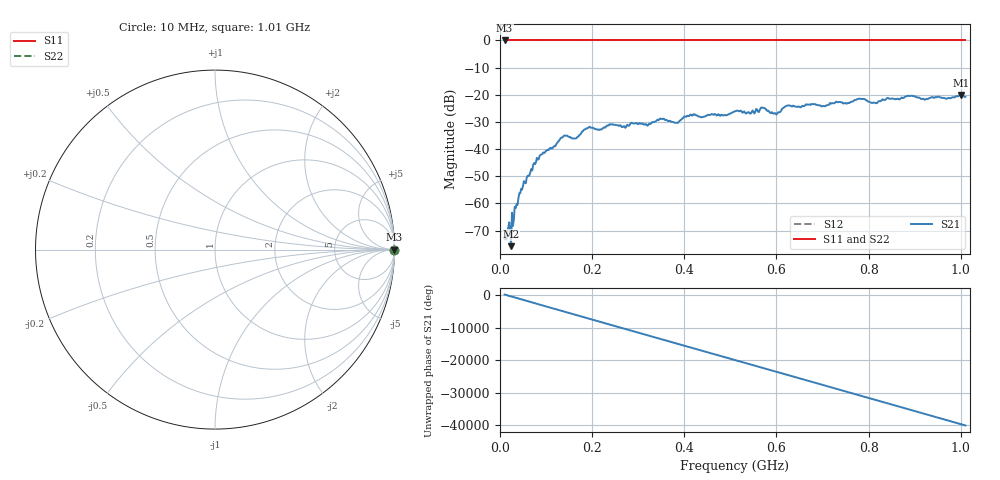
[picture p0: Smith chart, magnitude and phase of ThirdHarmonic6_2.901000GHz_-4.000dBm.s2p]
! 8/17/2025 8:00:54 AM
! C:\ANRITSUVNA\TEMP\TEMP.S2P
! CHANNEL.1
! TR.MEASUREMENT
! RAW.DATA
! RF.CORRECTION.OFF
! AVERAGING.OFF
! IF.BANDWIDTH: 5KHZ
! SWEEPTYPE:  FREQ.SWEEP(Linear)
! Reference Plane Port Info
! PORT:  PORT1  PORT2
! DISTANCE:  0  m  0  m
! TIME:  0  s  0  s
! PHASE.OFFSET:  0  deg.  0  deg.
! LOSS:  0  dB  0  dB
! REF.LOSS:  0  dB  0  dB
! REF.FREQ:  0  Hz  0  Hz
! Power Info
! POWER:  -20  dBm  -20  dBm
! EFF.POWER:  -20  dBm  -20  dBm
! SOURCE.ATTEN:  0  dB  0  dB
! TEST.ATTEN:  0  dB  0  dB
# GHZ S RI R 50.0
! FREQ.GHZ  S11RE  S11IM  S21RE  S21IM  S12RE  S12IM  S22RE  S22IM
!; PortSelection: Port_12
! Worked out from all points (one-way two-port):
!   501 points, 10 MHz to 1.01 GHz, reference 50 ohm
!   highest |S21| = -20.06 dB at 1 GHz (marker M1); lowest = -75.7 dB at 24 MHz (marker M2)
!   lowest |S11| = 0.0 dB at 10 MHz (marker M3)
!   |S11| at or under -10 dB: nowhere
!   |S22| runs from 0.0 to 0.0 dB; largest |S21 - S12| = 1.1
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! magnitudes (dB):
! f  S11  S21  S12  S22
! 10 MHz  0.0  -73.0  0.0  0.0
! 24 MHz  0.0  -75.7  0.0  0.0
! 48 MHz  0.0  -54.9  0.0  0.0
! 84 MHz  0.0  -43.7  0.0  0.0
! 136 MHz  0.0  -35.6  0.0  0.0
! 162 MHz  0.0  -36.1  0.0  0.0
! 178 MHz  0.0  -33.6  0.0  0.0
! 192 MHz  0.0  -32.1  0.0  0.0
! 322 MHz  0.0  -31.1  0.0  0.0
! 344 MHz  0.0  -29.4  0.0  0.0
! 384 MHz  0.0  -30.3  0.0  0.0
! 418 MHz  0.0  -27.6  0.0  0.0
! 510 MHz  0.0  -26.1  0.0  0.0
! 570 MHz  0.0  -24.8  0.0  0.0
! 598 MHz  0.0  -26.8  0.0  0.0
! 622 MHz  0.0  -24.1  0.0  0.0
! 678 MHz  0.0  -23.4  0.0  0.0
! 780 MHz  0.0  -21.4  0.0  0.0
! 814 MHz  0.0  -23.0  0.0  0.0
! 844 MHz  0.0  -21.4  0.0  0.0
! 1 GHz  0.0  -20.1  0.0  0.0
! 1.01 GHz  0.0  -20.7  0.0  0.0
